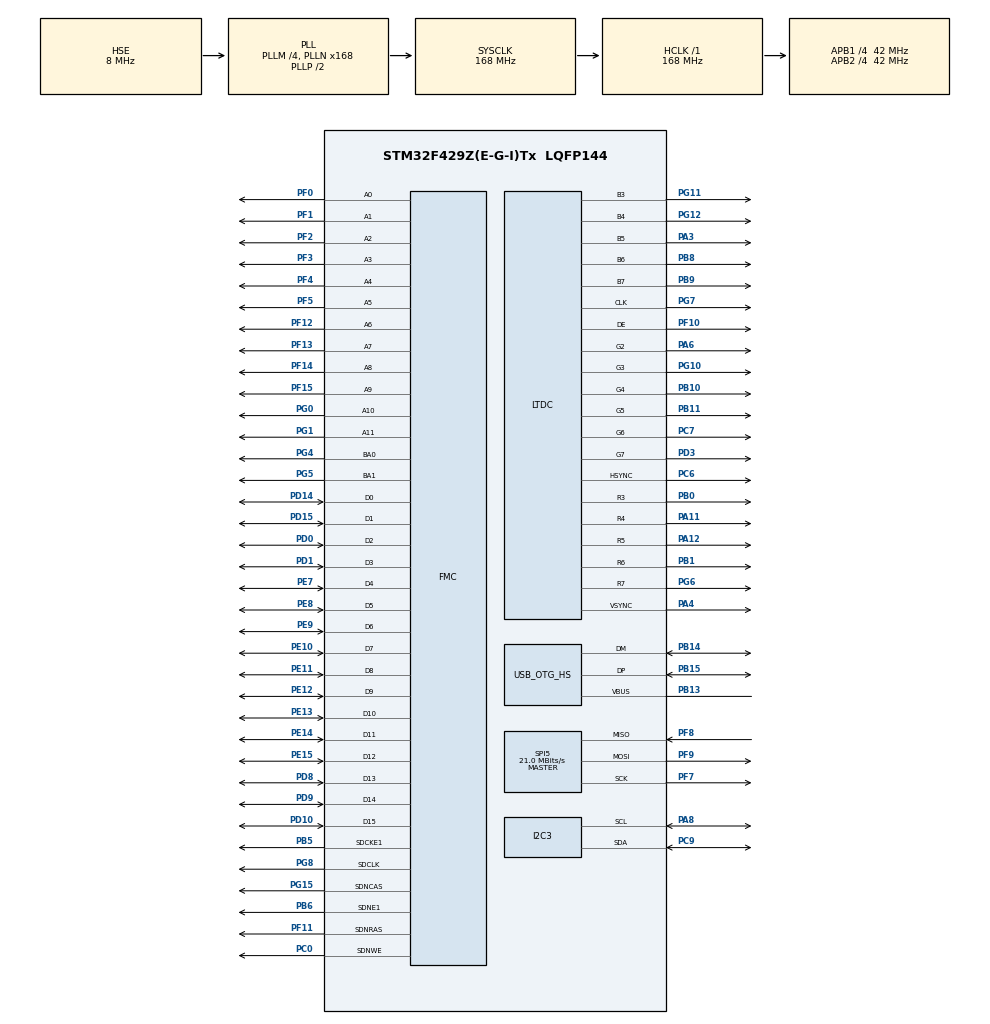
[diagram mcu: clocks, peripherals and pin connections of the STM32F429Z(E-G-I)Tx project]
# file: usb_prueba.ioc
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DMA2D.ColorMode=DMA2D_OUTPUT_RGB565
FATFS._USE_STRFUNC=1
FREERTOS.Tasks01=defaultTask,0,128,StartDefaultTask,Default,NULL,Dynamic,NULL,NULL;lcd,-3,128,lcd_task,Default,NULL,Dynamic,NULL,NULL
LTDC.ActiveH=240
LTDC.ActiveW=320
LTDC.PixelFormat_L0=LTDC_PIXEL_FORMAT_RGB565
LTDC.PixelFormat_L1=LTDC_PIXEL_FORMAT_RGB565
Mcu.Family=STM32F4
Mcu.Name=STM32F429Z(E-G-I)Tx
Mcu.Package=LQFP144
NVIC.OTG_HS_IRQn=true\:0\:0\:false\:false\:true\:false
NVIC.PriorityGroup=NVIC_PRIORITYGROUP_4
NVIC.TIM1_UP_TIM10_IRQn=true\:0\:0\:false\:false\:true\:false
NVIC.TimeBase=TIM1_UP_TIM10_IRQn
NVIC.TimeBaseIP=TIM1
PA11.Mode=RGB565
PA11.Signal=LTDC_R4
PA12.Mode=RGB565
PA12.Signal=LTDC_R5
PA13.Mode=Serial_Wire
PA13.Signal=SYS_JTMS-SWDIO
PA14.Mode=Serial_Wire
PA14.Signal=SYS_JTCK-SWCLK
PA3.Mode=RGB565
PA3.Signal=LTDC_B5
PA4.Mode=RGB565
PA4.Signal=LTDC_VSYNC
PA6.Mode=RGB565
PA6.Signal=LTDC_G2
PA8.Mode=I2C
PA8.Signal=I2C3_SCL
PB0.Mode=RGB565
PB0.Signal=LTDC_R3
PB1.Mode=RGB565
PB1.Signal=LTDC_R6
PB10.Mode=RGB565
PB10.Signal=LTDC_G4
PB11.Mode=RGB565
PB11.Signal=LTDC_G5
PB13.Mode=Activate_VBUS_FS
PB13.Signal=USB_OTG_HS_VBUS
PB14.Mode=Host_FS
PB14.Signal=USB_OTG_HS_DM
PB15.Mode=Host_FS
PB15.Signal=USB_OTG_HS_DP
PB5.Mode=SdramChipSelect2_1
PB5.Signal=FMC_SDCKE1
PB6.Mode=SdramChipSelect2_1
PB6.Signal=FMC_SDNE1
PB8.Mode=RGB565
PB8.Signal=LTDC_B6
PB9.Mode=RGB565
PB9.Signal=LTDC_B7
PC0.Signal=FMC_SDNWE
PC6.Mode=RGB565
PC6.Signal=LTDC_HSYNC
PC7.Mode=RGB565
PC7.Signal=LTDC_G6
PC9.Mode=I2C
PC9.Signal=I2C3_SDA
PD0.Signal=FMC_D2_DA2
PD1.Signal=FMC_D3_DA3
PD10.Signal=FMC_D15_DA15
PD14.Signal=FMC_D0_DA0
PD15.Signal=FMC_D1_DA1
PD3.Mode=RGB565
PD3.Signal=LTDC_G7
PD8.Signal=FMC_D13_DA13
PD9.Signal=FMC_D14_DA14
PE10.Signal=FMC_D7_DA7
PE11.Signal=FMC_D8_DA8
PE12.Signal=FMC_D9_DA9
PE13.Signal=FMC_D10_DA10
PE14.Signal=FMC_D11_DA11
PE15.Signal=FMC_D12_DA12
PE7.Signal=FMC_D4_DA4
PE8.Signal=FMC_D5_DA5
PE9.Signal=FMC_D6_DA6
PF0.Signal=FMC_A0
PF1.Signal=FMC_A1
PF10.Mode=RGB565
PF10.Signal=LTDC_DE
PF11.Signal=FMC_SDNRAS
PF12.Signal=FMC_A6
PF13.Signal=FMC_A7
PF14.Signal=FMC_A8
PF15.Signal=FMC_A9
PF2.Signal=FMC_A2
PF3.Signal=FMC_A3
PF4.Signal=FMC_A4
PF5.Signal=FMC_A5
PF7.Mode=Full_Duplex_Master
PF7.Signal=SPI5_SCK
PF8.Mode=Full_Duplex_Master
PF8.Signal=SPI5_MISO
PF9.Mode=Full_Duplex_Master
PF9.Signal=SPI5_MOSI
PG0.Signal=FMC_A10
PG1.Signal=FMC_A11
PG10.Mode=RGB565
PG10.Signal=LTDC_G3
PG11.Mode=RGB565
PG11.Signal=LTDC_B3
PG12.Mode=RGB565
PG12.Signal=LTDC_B4
PG15.Signal=FMC_SDNCAS
PG4.Signal=FMC_A14_BA0
PG5.Signal=FMC_A15_BA1
PG6.Mode=RGB565
PG6.Signal=LTDC_R7
PG7.Mode=RGB565
PG7.Signal=LTDC_CLK
PG8.Signal=FMC_SDCLK
PH0/OSC_IN.Mode=HSE-External-Oscillator
PH0/OSC_IN.Signal=RCC_OSC_IN
PH1/OSC_OUT.Mode=HSE-External-Oscillator
PH1/OSC_OUT.Signal=RCC_OSC_OUT
ProjectManager.HeapSize=0x200
ProjectManager.StackSize=0x400
ProjectManager.TargetToolchain=SW4STM32
RCC.48MHZClocksFreq_Value=48000000
RCC.AHBFreq_Value=168000000
RCC.APB1CLKDivider=RCC_HCLK_DIV4
RCC.APB1Freq_Value=42000000
RCC.APB1TimFreq_Value=84000000
RCC.APB2CLKDivider=RCC_HCLK_DIV4
RCC.APB2Freq_Value=42000000
RCC.APB2TimFreq_Value=84000000
RCC.CortexFreq_Value=168000000
RCC.HCLKFreq_Value=168000000
RCC.HSE_VALUE=8000000
RCC.HSI_VALUE=16000000
RCC.LSE_VALUE=32768
RCC.PLLM=4
RCC.PLLN=168
RCC.PLLQ=7
RCC.PLLSAIN=50
RCC.SYSCLKFreq_VALUE=168000000
RCC.SYSCLKSource=RCC_SYSCLKSOURCE_PLLCLK
RCC.VCOOutputFreq_Value=336000000
SH.FMC_A0.0=FMC_A0,12b-sda1
SH.FMC_A1.0=FMC_A1,12b-sda1
SH.FMC_A10.0=FMC_A10,12b-sda1
SH.FMC_A11.0=FMC_A11,12b-sda1
SH.FMC_A14_BA0.0=FMC_BA0,FourSdramBanks1
SH.FMC_A15_BA1.0=FMC_BA1,FourSdramBanks1
SH.FMC_A2.0=FMC_A2,12b-sda1
SH.FMC_A3.0=FMC_A3,12b-sda1
SH.FMC_A4.0=FMC_A4,12b-sda1
SH.FMC_A5.0=FMC_A5,12b-sda1
SH.FMC_A6.0=FMC_A6,12b-sda1
SH.FMC_A7.0=FMC_A7,12b-sda1
SH.FMC_A8.0=FMC_A8,12b-sda1
SH.FMC_A9.0=FMC_A9,12b-sda1
SH.FMC_D0_DA0.0=FMC_D0,sd-16b-d1
SH.FMC_D10_DA10.0=FMC_D10,sd-16b-d1
SH.FMC_D11_DA11.0=FMC_D11,sd-16b-d1
SH.FMC_D12_DA12.0=FMC_D12,sd-16b-d1
SH.FMC_D13_DA13.0=FMC_D13,sd-16b-d1
SH.FMC_D14_DA14.0=FMC_D14,sd-16b-d1
SH.FMC_D15_DA15.0=FMC_D15,sd-16b-d1
SH.FMC_D1_DA1.0=FMC_D1,sd-16b-d1
SH.FMC_D2_DA2.0=FMC_D2,sd-16b-d1
SH.FMC_D3_DA3.0=FMC_D3,sd-16b-d1
SH.FMC_D4_DA4.0=FMC_D4,sd-16b-d1
SH.FMC_D5_DA5.0=FMC_D5,sd-16b-d1
SH.FMC_D6_DA6.0=FMC_D6,sd-16b-d1
SH.FMC_D7_DA7.0=FMC_D7,sd-16b-d1
SH.FMC_D8_DA8.0=FMC_D8,sd-16b-d1
SH.FMC_D9_DA9.0=FMC_D9,sd-16b-d1
SH.FMC_SDCLK.0=FMC_SDCLK,12b-sda1
SH.FMC_SDNCAS.0=FMC_SDNCAS,12b-sda1
SH.FMC_SDNRAS.0=FMC_SDNRAS,12b-sda1
SH.FMC_SDNWE.0=FMC_SDNWE,12b-sda1
SPI5.CalculateBaudRate=21.0 MBits/s
SPI5.Direction=SPI_DIRECTION_2LINES
SPI5.Mode=SPI_MODE_MASTER
SPI5.VirtualType=VM_MASTER
USB_HOST.USBH_HandleTypeDef-MSC_HS=hUsbHostHS
USB_HOST.VirtualModeHS=Msc
USB_OTG_HS.VirtualMode-Host_FS=Host_FS
VP_DMA2D_VS_DMA2D.Mode=DMA2D_Activate
VP_FATFS_VS_USB.Mode=USB
VP_FREERTOS_VS_ENABLE.Mode=Enabled
VP_SYS_VS_tim1.Mode=TIM1
VP_USB_HOST_VS_USB_HOST_MSC_HS.Mode=MSC_HS
board=STM32F429I-DISC1

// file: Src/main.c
/**
  ******************************************************************************
  * File Name          : main.c
  * Description        : Main program body
  ******************************************************************************
  * This notice applies to any and all portions of this file
  * that are not between comment pairs USER CODE BEGIN and
  * USER CODE END. Other portions of this file, whether
  * inserted by the user or by software development tools
  * are owned by their respective copyright owners.
  *
  * Copyright (c) 2017 STMicroelectronics International N.V.
  * All rights reserved.
  *
  * Redistribution and use in source and binary forms, with or without
  * modification, are permitted, provided that the following conditions are met:
  *
  * 1. Redistribution of source code must retain the above copyright notice,
  *    this list of conditions and the following disclaimer.
  * 2. Redistributions in binary form must reproduce the above copyright notice,
  *    this list of conditions and the following disclaimer in the documentation
  *    and/or other materials provided with the distribution.
  * 3. Neither the name of STMicroelectronics nor the names of other
  *    contributors to this software may be used to endorse or promote products
  *    derived from this software without specific written permission.
  * 4. This software, including modifications and/or derivative works of this
  *    software, must execute solely and exclusively on microcontroller or
  *    microprocessor devices manufactured by or for STMicroelectronics.
  * 5. Redistribution and use of this software other than as permitted under
  *    this license is void and will automatically terminate your rights under
  *    this license.
  *
  * THIS SOFTWARE IS PROVIDED BY STMICROELECTRONICS AND CONTRIBUTORS "AS IS"
  * AND ANY EXPRESS, IMPLIED OR STATUTORY WARRANTIES, INCLUDING, BUT NOT
  * LIMITED TO, THE IMPLIED WARRANTIES OF MERCHANTABILITY, FITNESS FOR A
  * PARTICULAR PURPOSE AND NON-INFRINGEMENT OF THIRD PARTY INTELLECTUAL PROPERTY
  * RIGHTS ARE DISCLAIMED TO THE FULLEST EXTENT PERMITTED BY LAW. IN NO EVENT
  * SHALL STMICROELECTRONICS OR CONTRIBUTORS BE LIABLE FOR ANY DIRECT, INDIRECT,
  * INCIDENTAL, SPECIAL, EXEMPLARY, OR CONSEQUENTIAL DAMAGES (INCLUDING, BUT NOT
  * LIMITED TO, PROCUREMENT OF SUBSTITUTE GOODS OR SERVICES; LOSS OF USE, DATA,
  * OR PROFITS; OR BUSINESS INTERRUPTION) HOWEVER CAUSED AND ON ANY THEORY OF
  * LIABILITY, WHETHER IN CONTRACT, STRICT LIABILITY, OR TORT (INCLUDING
  * NEGLIGENCE OR OTHERWISE) ARISING IN ANY WAY OUT OF THE USE OF THIS SOFTWARE,
  * EVEN IF ADVISED OF THE POSSIBILITY OF SUCH DAMAGE.
  *
  ******************************************************************************
  */
#include "main.h"
#include "stm32f4xx_hal.h"
#include "cmsis_os.h"
#include "fatfs.h"
#include "usb_host.h"
#include "stm32f429i_discovery_lcd.h"
#include "stdlib.h"

DMA2D_HandleTypeDef hdma2d;

I2C_HandleTypeDef hi2c3;

LTDC_HandleTypeDef hltdc;

SPI_HandleTypeDef hspi5;

SDRAM_HandleTypeDef hsdram1;

osThreadId defaultTaskHandle;
osThreadId lcdHandle;

/* USER CODE BEGIN PV */
/* Private variables ---------------------------------------------------------*/

/* USER CODE END PV */

void SystemClock_Config(void);
static void MX_GPIO_Init(void);
static void MX_DMA2D_Init(void);
static void MX_FMC_Init(void);
static void MX_I2C3_Init(void);
static void MX_SPI5_Init(void);
static void MX_LTDC_Init(void);
void StartDefaultTask(void const * argument);
void lcd_task(void const * argument);

/* USER CODE BEGIN PFP */
/* Private function prototypes -----------------------------------------------*/

/* USER CODE END PFP */

int main(void)
{

  /* MCU Configuration----------------------------------------------------------*/

  /* Reset of all peripherals, Initializes the Flash interface and the Systick. */
  HAL_Init();

  /* Configure the system clock */
  SystemClock_Config();

  /* Initialize all configured peripherals */
  MX_GPIO_Init();
  MX_DMA2D_Init();
  MX_FMC_Init();
  MX_I2C3_Init();
  MX_SPI5_Init();
  MX_LTDC_Init();

  /* Create the thread(s) */
  /* definition and creation of defaultTask */
  osThreadDef(defaultTask, StartDefaultTask, osPriorityNormal, 0, 128);
  defaultTaskHandle = osThreadCreate(osThread(defaultTask), NULL);

  /* definition and creation of lcd */
  osThreadDef(lcd, lcd_task, osPriorityIdle, 0, 128);
  lcdHandle = osThreadCreate(osThread(lcd), NULL);

  /* Start scheduler */
  osKernelStart();

  /* We should never get here as control is now taken by the scheduler */

  /* Infinite loop */
  while (1)
  {

  }

}

/** System Clock Configuration
*/
void SystemClock_Config(void)
{

  RCC_OscInitTypeDef RCC_OscInitStruct;
  RCC_ClkInitTypeDef RCC_ClkInitStruct;
  RCC_PeriphCLKInitTypeDef PeriphClkInitStruct;

    /**Configure the main internal regulator output voltage
    */
  __HAL_RCC_PWR_CLK_ENABLE();

  __HAL_PWR_VOLTAGESCALING_CONFIG(PWR_REGULATOR_VOLTAGE_SCALE1);

    /**Initializes the CPU, AHB and APB busses clocks
    */
  RCC_OscInitStruct.OscillatorType = RCC_OSCILLATORTYPE_HSE;
  RCC_OscInitStruct.HSEState = RCC_HSE_ON;
  RCC_OscInitStruct.PLL.PLLState = RCC_PLL_ON;
  RCC_OscInitStruct.PLL.PLLSource = RCC_PLLSOURCE_HSE;
  RCC_OscInitStruct.PLL.PLLM = 4;
  RCC_OscInitStruct.PLL.PLLN = 168;
  RCC_OscInitStruct.PLL.PLLP = RCC_PLLP_DIV2;
  RCC_OscInitStruct.PLL.PLLQ = 7;
  if (HAL_RCC_OscConfig(&RCC_OscInitStruct) != HAL_OK)
  {
    _Error_Handler(__FILE__, __LINE__);
  }

    /**Initializes the CPU, AHB and APB busses clocks
    */
  RCC_ClkInitStruct.ClockType = RCC_CLOCKTYPE_HCLK|RCC_CLOCKTYPE_SYSCLK
                              |RCC_CLOCKTYPE_PCLK1|RCC_CLOCKTYPE_PCLK2;
  RCC_ClkInitStruct.SYSCLKSource = RCC_SYSCLKSOURCE_PLLCLK;
  RCC_ClkInitStruct.AHBCLKDivider = RCC_SYSCLK_DIV1;
  RCC_ClkInitStruct.APB1CLKDivider = RCC_HCLK_DIV4;
  RCC_ClkInitStruct.APB2CLKDivider = RCC_HCLK_DIV4;

  if (HAL_RCC_ClockConfig(&RCC_ClkInitStruct, FLASH_LATENCY_5) != HAL_OK)
  {
    _Error_Handler(__FILE__, __LINE__);
  }

  PeriphClkInitStruct.PeriphClockSelection = RCC_PERIPHCLK_LTDC;
  PeriphClkInitStruct.PLLSAI.PLLSAIN = 50;
  PeriphClkInitStruct.PLLSAI.PLLSAIR = 2;
  PeriphClkInitStruct.PLLSAIDivR = RCC_PLLSAIDIVR_2;
  if (HAL_RCCEx_PeriphCLKConfig(&PeriphClkInitStruct) != HAL_OK)
  {
    _Error_Handler(__FILE__, __LINE__);
  }

    /**Configure the Systick interrupt time
    */
  HAL_SYSTICK_Config(HAL_RCC_GetHCLKFreq()/1000);

    /**Configure the Systick
    */
  HAL_SYSTICK_CLKSourceConfig(SYSTICK_CLKSOURCE_HCLK);

  /* SysTick_IRQn interrupt configuration */
  HAL_NVIC_SetPriority(SysTick_IRQn, 15, 0);
}

/* DMA2D init function */
static void MX_DMA2D_Init(void)
{

  hdma2d.Instance = DMA2D;
  hdma2d.Init.Mode = DMA2D_M2M;
  hdma2d.Init.ColorMode = DMA2D_OUTPUT_RGB565;
  hdma2d.Init.OutputOffset = 0;
  hdma2d.LayerCfg[1].InputOffset = 0;
  hdma2d.LayerCfg[1].InputColorMode = DMA2D_INPUT_RGB565;
  hdma2d.LayerCfg[1].AlphaMode = DMA2D_NO_MODIF_ALPHA;
  hdma2d.LayerCfg[1].InputAlpha = 0;
  if (HAL_DMA2D_Init(&hdma2d) != HAL_OK)
  {
    _Error_Handler(__FILE__, __LINE__);
  }

  if (HAL_DMA2D_ConfigLayer(&hdma2d, 1) != HAL_OK)
  {
    _Error_Handler(__FILE__, __LINE__);
  }

}

/* I2C3 init function */
static void MX_I2C3_Init(void)
{

  hi2c3.Instance = I2C3;
  hi2c3.Init.ClockSpeed = 100000;
  hi2c3.Init.DutyCycle = I2C_DUTYCYCLE_2;
  hi2c3.Init.OwnAddress1 = 0;
  hi2c3.Init.AddressingMode = I2C_ADDRESSINGMODE_7BIT;
  hi2c3.Init.DualAddressMode = I2C_DUALADDRESS_DISABLE;
  hi2c3.Init.OwnAddress2 = 0;
  hi2c3.Init.GeneralCallMode = I2C_GENERALCALL_DISABLE;
  hi2c3.Init.NoStretchMode = I2C_NOSTRETCH_DISABLE;
  if (HAL_I2C_Init(&hi2c3) != HAL_OK)
  {
    _Error_Handler(__FILE__, __LINE__);
  }

}

/* LTDC init function */
static void MX_LTDC_Init(void)
{

  LTDC_LayerCfgTypeDef pLayerCfg;
  LTDC_LayerCfgTypeDef pLayerCfg1;

  hltdc.Instance = LTDC;
  hltdc.Init.HSPolarity = LTDC_HSPOLARITY_AL;
  hltdc.Init.VSPolarity = LTDC_VSPOLARITY_AL;
  hltdc.Init.DEPolarity = LTDC_DEPOLARITY_AL;
  hltdc.Init.PCPolarity = LTDC_PCPOLARITY_IPC;
  hltdc.Init.HorizontalSync = 7;
  hltdc.Init.VerticalSync = 3;
  hltdc.Init.AccumulatedHBP = 14;
  hltdc.Init.AccumulatedVBP = 5;
  hltdc.Init.AccumulatedActiveW = 334;
  hltdc.Init.AccumulatedActiveH = 245;
  hltdc.Init.TotalWidth = 340;
  hltdc.Init.TotalHeigh = 247;
  hltdc.Init.Backcolor.Blue = 0;
  hltdc.Init.Backcolor.Green = 0;
  hltdc.Init.Backcolor.Red = 0;
  if (HAL_LTDC_Init(&hltdc) != HAL_OK)
  {
    _Error_Handler(__FILE__, __LINE__);
  }

  pLayerCfg.WindowX0 = 0;
  pLayerCfg.WindowX1 = 0;
  pLayerCfg.WindowY0 = 0;
  pLayerCfg.WindowY1 = 0;
  pLayerCfg.PixelFormat = LTDC_PIXEL_FORMAT_RGB565;
  pLayerCfg.Alpha = 0;
  pLayerCfg.Alpha0 = 0;
  pLayerCfg.BlendingFactor1 = LTDC_BLENDING_FACTOR1_CA;
  pLayerCfg.BlendingFactor2 = LTDC_BLENDING_FACTOR2_CA;
  pLayerCfg.FBStartAdress = 0;
  pLayerCfg.ImageWidth = 0;
  pLayerCfg.ImageHeight = 0;
  pLayerCfg.Backcolor.Blue = 0;
  pLayerCfg.Backcolor.Green = 0;
  pLayerCfg.Backcolor.Red = 0;
  if (HAL_LTDC_ConfigLayer(&hltdc, &pLayerCfg, 0) != HAL_OK)
  {
    _Error_Handler(__FILE__, __LINE__);
  }

  pLayerCfg1.WindowX0 = 0;
  pLayerCfg1.WindowX1 = 0;
  pLayerCfg1.WindowY0 = 0;
  pLayerCfg1.WindowY1 = 0;
  pLayerCfg1.PixelFormat = LTDC_PIXEL_FORMAT_RGB565;
  pLayerCfg1.Alpha = 0;
  pLayerCfg1.Alpha0 = 0;
  pLayerCfg1.BlendingFactor1 = LTDC_BLENDING_FACTOR1_CA;
  pLayerCfg1.BlendingFactor2 = LTDC_BLENDING_FACTOR2_CA;
  pLayerCfg1.FBStartAdress = 0;
  pLayerCfg1.ImageWidth = 0;
  pLayerCfg1.ImageHeight = 0;
  pLayerCfg1.Backcolor.Blue = 0;
  pLayerCfg1.Backcolor.Green = 0;
  pLayerCfg1.Backcolor.Red = 0;
  if (HAL_LTDC_ConfigLayer(&hltdc, &pLayerCfg1, 1) != HAL_OK)
  {
    _Error_Handler(__FILE__, __LINE__);
  }

}

/* SPI5 init function */
static void MX_SPI5_Init(void)
{

  hspi5.Instance = SPI5;
  hspi5.Init.Mode = SPI_MODE_MASTER;
  hspi5.Init.Direction = SPI_DIRECTION_2LINES;
  hspi5.Init.DataSize = SPI_DATASIZE_8BIT;
  hspi5.Init.CLKPolarity = SPI_POLARITY_LOW;
  hspi5.Init.CLKPhase = SPI_PHASE_1EDGE;
  hspi5.Init.NSS = SPI_NSS_SOFT;
  hspi5.Init.BaudRatePrescaler = SPI_BAUDRATEPRESCALER_2;
  hspi5.Init.FirstBit = SPI_FIRSTBIT_MSB;
  hspi5.Init.TIMode = SPI_TIMODE_DISABLE;
  hspi5.Init.CRCCalculation = SPI_CRCCALCULATION_DISABLE;
  hspi5.Init.CRCPolynomial = 10;
  if (HAL_SPI_Init(&hspi5) != HAL_OK)
  {
    _Error_Handler(__FILE__, __LINE__);
  }

}
/* FMC initialization function */
static void MX_FMC_Init(void)
{
  FMC_SDRAM_TimingTypeDef SdramTiming;

  /** Perform the SDRAM1 memory initialization sequence
  */
  hsdram1.Instance = FMC_SDRAM_DEVICE;
  /* hsdram1.Init */
  hsdram1.Init.SDBank = FMC_SDRAM_BANK2;
  hsdram1.Init.ColumnBitsNumber = FMC_SDRAM_COLUMN_BITS_NUM_8;
  hsdram1.Init.RowBitsNumber = FMC_SDRAM_ROW_BITS_NUM_12;
  hsdram1.Init.MemoryDataWidth = FMC_SDRAM_MEM_BUS_WIDTH_16;
  hsdram1.Init.InternalBankNumber = FMC_SDRAM_INTERN_BANKS_NUM_4;
  hsdram1.Init.CASLatency = FMC_SDRAM_CAS_LATENCY_1;
  hsdram1.Init.WriteProtection = FMC_SDRAM_WRITE_PROTECTION_DISABLE;
  hsdram1.Init.SDClockPeriod = FMC_SDRAM_CLOCK_DISABLE;
  hsdram1.Init.ReadBurst = FMC_SDRAM_RBURST_DISABLE;
  hsdram1.Init.ReadPipeDelay = FMC_SDRAM_RPIPE_DELAY_0;
  /* SdramTiming */
  SdramTiming.LoadToActiveDelay = 16;
  SdramTiming.ExitSelfRefreshDelay = 16;
  SdramTiming.SelfRefreshTime = 16;
  SdramTiming.RowCycleDelay = 16;
  SdramTiming.WriteRecoveryTime = 16;
  SdramTiming.RPDelay = 16;
  SdramTiming.RCDDelay = 16;

  if (HAL_SDRAM_Init(&hsdram1, &SdramTiming) != HAL_OK)
  {
    _Error_Handler(__FILE__, __LINE__);
  }

}

/** Configure pins as
        * Analog
        * Input
        * Output
        * EVENT_OUT
        * EXTI
*/
static void MX_GPIO_Init(void)
{

  /* GPIO Ports Clock Enable */
  __HAL_RCC_GPIOF_CLK_ENABLE();
  __HAL_RCC_GPIOH_CLK_ENABLE();
  __HAL_RCC_GPIOC_CLK_ENABLE();
  __HAL_RCC_GPIOA_CLK_ENABLE();
  __HAL_RCC_GPIOB_CLK_ENABLE();
  __HAL_RCC_GPIOG_CLK_ENABLE();
  __HAL_RCC_GPIOE_CLK_ENABLE();
  __HAL_RCC_GPIOD_CLK_ENABLE();

}

/* StartDefaultTask function */

  /* init code for USB_HOST */

  void StartDefaultTask(void const * argument)
  {
     /*init code for USB_HOST */

	 /* BSP_LED_Init(LED3);
	  BSP_LED_Init(LED4);

	  for(;;){

		  BSP_LED_Toggle(LED3);
		  BSP_LED_Toggle(LED4);
		  osDelay(500);
	  }*/

	  MX_USB_HOST_Init();
	  MX_FATFS_Init();
	   FATFS myFats;
       FIL myFile;
       uint8_t myData[11]="hello world";
       UINT byteCount;

       for(;;)
       {
     	if(f_mount(&myFats, (TCHAR const*)USBH_Path, 0)==FR_OK){
     		f_open(&myFile,"create2.TXT\0", FA_WRITE|FA_CREATE_ALWAYS);
     		f_write(&myFile, myData, 11, &byteCount);
     		f_close(&myFile);
     	}
         osDelay(1000);
       }
    /* USER CODE END 5 */
  }

  /* lcd_task function */
  void lcd_task(void const * argument)
  {
    /* USER CODE BEGIN lcd_task */
    /* Infinite loop */
	  BSP_LCD_Init();
  	  BSP_LCD_LayerDefaultInit(LCD_BACKGROUND_LAYER, LCD_FRAME_BUFFER);
  	  BSP_LCD_LayerDefaultInit(LCD_FOREGROUND_LAYER, LCD_FRAME_BUFFER);
  	  BSP_LCD_SelectLayer(LCD_FOREGROUND_LAYER);
  	  BSP_LCD_DisplayOn();
  	  BSP_LCD_Clear(LCD_COLOR_WHITE);
  	  /* USER CODE BEGIN StartTask02 */
  	  /* Infinite loop */
  	  for(;;)
  	  {
  		  BSP_LCD_SetTextColor(LCD_COLOR_DARKGREEN);
  		  BSP_LCD_DisplayStringAtLine(1,(uint8_t*)"HOLA MUNDO 1");
  		osDelay(2000);
  		  BSP_LCD_SetTextColor(LCD_COLOR_DARKBLUE);
  		  BSP_LCD_DisplayStringAtLine(2,(uint8_t*)"HOLA MUNDO 2");
  		osDelay(2000);
  		  BSP_LCD_SetTextColor(LCD_COLOR_BLACK);
  		  BSP_LCD_DisplayStringAtLine(3,(uint8_t*)"HOLA MUNDO 3");
  		osDelay(2000);
  		  BSP_LCD_SetTextColor(LCD_COLOR_DARKYELLOW);
  		  BSP_LCD_DisplayStringAtLine(4,(uint8_t*)"HOLA MUNDO 4");
  		osDelay(2000);
  		  BSP_LCD_SetTextColor(LCD_COLOR_DARKMAGENTA);
  		  BSP_LCD_DisplayStringAtLine(5,(uint8_t*)"HOLA MUNDO 5");

  	    osDelay(2000);
  	  BSP_LCD_Clear(LCD_COLOR_WHITE);
  	  }
    /* USER CODE END lcd_task */
  }

void HAL_TIM_PeriodElapsedCallback(TIM_HandleTypeDef *htim)
{
  if (htim->Instance == TIM1) {
    HAL_IncTick();
  }
}

void _Error_Handler(char * file, int line)
{
  while(1)
  {
  }
}

/************************ (C) COPYRIGHT STMicroelectronics *****END OF FILE****/
